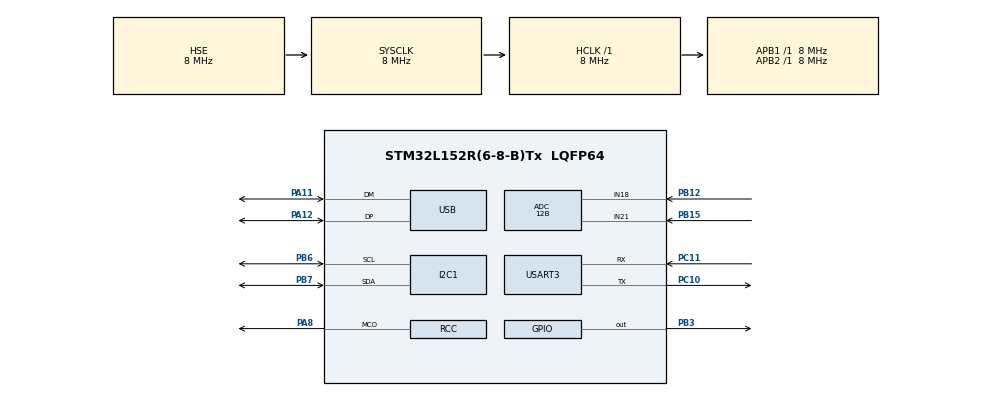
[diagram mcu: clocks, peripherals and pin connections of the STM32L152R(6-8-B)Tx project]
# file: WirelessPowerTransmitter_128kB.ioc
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ADC.Channel-46\#ChannelRegularConversion=ADC_CHANNEL_18
ADC.Channel-48\#ChannelRegularConversion=ADC_CHANNEL_21
ADC.ClockPrescaler=ADC_CLOCK_ASYNC_DIV4
ADC.ContinuousConvMode=ENABLE
ADC.DMAContinuousRequests=ENABLE
ADC.DataAlign=ADC_DATAALIGN_RIGHT
ADC.DiscontinuousConvMode=DISABLE
ADC.EOCSelection=ADC_EOC_SEQ_CONV
ADC.EnableAnalogWatchDog=false
ADC.ExternalTrigConvEdge=ADC_EXTERNALTRIGCONVEDGE_NONE
ADC.InjNumberOfConversion=0
ADC.LowPowerAutoPowerOff=ADC_AUTOPOWEROFF_DISABLE
ADC.LowPowerAutoWait=ADC_AUTOWAIT_DISABLE
ADC.NbrOfConversion=2
ADC.NbrOfConversionFlag=1
ADC.Rank-46\#ChannelRegularConversion=1
ADC.Rank-48\#ChannelRegularConversion=2
ADC.Resolution=ADC_RESOLUTION_12B
ADC.SamplingTime-46\#ChannelRegularConversion=ADC_SAMPLETIME_384CYCLES
ADC.SamplingTime-48\#ChannelRegularConversion=ADC_SAMPLETIME_384CYCLES
ADC.ScanConvMode=ADC_SCAN_ENABLE
Dma.ADC.1.Direction=DMA_PERIPH_TO_MEMORY
Dma.ADC.1.Instance=DMA1_Channel1
Dma.ADC.1.MemDataAlignment=DMA_MDATAALIGN_HALFWORD
Dma.ADC.1.MemInc=DMA_MINC_ENABLE
Dma.ADC.1.Mode=DMA_CIRCULAR
Dma.ADC.1.PeriphDataAlignment=DMA_PDATAALIGN_HALFWORD
Dma.ADC.1.PeriphInc=DMA_PINC_DISABLE
Dma.ADC.1.Priority=DMA_PRIORITY_LOW
Dma.Request0=USART3_TX
Dma.Request1=ADC
Dma.USART3_TX.0.Direction=DMA_MEMORY_TO_PERIPH
Dma.USART3_TX.0.Instance=DMA1_Channel2
Dma.USART3_TX.0.MemDataAlignment=DMA_MDATAALIGN_BYTE
Dma.USART3_TX.0.MemInc=DMA_MINC_ENABLE
Dma.USART3_TX.0.Mode=DMA_NORMAL
Dma.USART3_TX.0.PeriphDataAlignment=DMA_PDATAALIGN_BYTE
Dma.USART3_TX.0.PeriphInc=DMA_PINC_DISABLE
Dma.USART3_TX.0.Priority=DMA_PRIORITY_LOW
Mcu.Family=STM32L1
Mcu.Name=STM32L152R(6-8-B)Tx
Mcu.Package=LQFP64
NVIC.DMA1_Channel1_IRQn=true\:0\:0\:false\:false\:true
NVIC.DMA1_Channel2_IRQn=true\:0\:0\:false\:false\:true
NVIC.PriorityGroup=NVIC_PRIORITYGROUP_4
NVIC.TIM7_IRQn=true\:0\:0\:false\:false\:true
NVIC.USART3_IRQn=true\:0\:0\:false\:false\:true
NVIC.USB_LP_IRQn=true\:0\:0\:false\:false\:true
PA11.Mode=Device
PA11.Signal=USB_DM
PA12.Mode=Device
PA12.Signal=USB_DP
PA8.Mode=Clock-out
PA8.Signal=RCC_MCO
PB12.Mode=IN18
PB12.Signal=ADC_IN18
PB15.Mode=IN21
PB15.Signal=ADC_IN21
PB3.Signal=GPIO_Output
PB6.Mode=I2C
PB6.Signal=I2C1_SCL
PB7.Mode=I2C
PB7.Signal=I2C1_SDA
PC10.Mode=Asynchronous
PC10.Signal=USART3_TX
PC11.Mode=Asynchronous
PC11.Signal=USART3_RX
PH0-OSC_IN.Mode=HSE-External-Oscillator
PH0-OSC_IN.Signal=RCC_OSC_IN
PH1-OSC_OUT.Mode=HSE-External-Oscillator
PH1-OSC_OUT.Signal=RCC_OSC_OUT
ProjectManager.HeapSize=0x200
ProjectManager.StackSize=0x400
ProjectManager.TargetToolchain=TrueSTUDIO
RCC.AHBFreq_Value=8000000
RCC.APB1Freq_Value=8000000
RCC.APB1TimFreq_Value=8000000
RCC.APB2Freq_Value=8000000
RCC.APB2TimFreq_Value=8000000
RCC.HCLKFreq_Value=8000000
RCC.HSE_VALUE=8000000
RCC.HSI_VALUE=16000000
RCC.LSE_VALUE=32768
RCC.MSI_VALUE=2097000
RCC.SYSCLKFreq_VALUE=8000000
RCC.SYSCLKSource=RCC_SYSCLKSOURCE_HSE
RCC.USBOutput=12000000
RCC.VCOOutputFreq_Value=24000000
TIM7.Period=999
TIM7.Prescaler=5999
USB_DEVICE.CLASS_NAME_FS=CDC
USB_DEVICE.USBD_HandleTypeDef=hUsbDeviceFS
USB_DEVICE.VirtualMode=Cdc
USB_DEVICE.VirtualModeFS=Cdc_FS
VP_TIM7_VS_ClockSourceINT.Mode=Enable_Timer
VP_USB_DEVICE_VS_USB_DEVICE_CDC_FS.Mode=CDC_FS
board=WirelessPowerTransmitter_128kB

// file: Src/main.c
/**
  ******************************************************************************
  * File Name          : main.c
  * Description        : Main program body
  ******************************************************************************
  *
  * COPYRIGHT(c) 2017 STMicroelectronics
  *
  * Redistribution and use in source and binary forms, with or without modification,
  * are permitted provided that the following conditions are met:
  *   1. Redistributions of source code must retain the above copyright notice,
  *      this list of conditions and the following disclaimer.
  *   2. Redistributions in binary form must reproduce the above copyright notice,
  *      this list of conditions and the following disclaimer in the documentation
  *      and/or other materials provided with the distribution.
  *   3. Neither the name of STMicroelectronics nor the names of its contributors
  *      may be used to endorse or promote products derived from this software
  *      without specific prior written permission.
  *
  * THIS SOFTWARE IS PROVIDED BY THE COPYRIGHT HOLDERS AND CONTRIBUTORS "AS IS"
  * AND ANY EXPRESS OR IMPLIED WARRANTIES, INCLUDING, BUT NOT LIMITED TO, THE
  * IMPLIED WARRANTIES OF MERCHANTABILITY AND FITNESS FOR A PARTICULAR PURPOSE ARE
  * DISCLAIMED. IN NO EVENT SHALL THE COPYRIGHT HOLDER OR CONTRIBUTORS BE LIABLE
  * FOR ANY DIRECT, INDIRECT, INCIDENTAL, SPECIAL, EXEMPLARY, OR CONSEQUENTIAL
  * DAMAGES (INCLUDING, BUT NOT LIMITED TO, PROCUREMENT OF SUBSTITUTE GOODS OR
  * SERVICES; LOSS OF USE, DATA, OR PROFITS; OR BUSINESS INTERRUPTION) HOWEVER
  * CAUSED AND ON ANY THEORY OF LIABILITY, WHETHER IN CONTRACT, STRICT LIABILITY,
  * OR TORT (INCLUDING NEGLIGENCE OR OTHERWISE) ARISING IN ANY WAY OUT OF THE USE
  * OF THIS SOFTWARE, EVEN IF ADVISED OF THE POSSIBILITY OF SUCH DAMAGE.
  *
  ******************************************************************************
  */
#include "stm32l1xx_hal.h"

/* USER CODE BEGIN Includes */
#include "BQ500511_I2C.h"
#include "BQ500511_Parser.h"
#include "UART_Diagnostics.h"
#include "Tests.h"
#include "JG_BinaryProtocolCommands.h"

/* USER CODE END Includes */

ADC_HandleTypeDef hadc;
DMA_HandleTypeDef hdma_adc;

I2C_HandleTypeDef hi2c1;

TIM_HandleTypeDef htim7;

UART_HandleTypeDef huart3;
DMA_HandleTypeDef hdma_usart3_tx;

/* USER CODE BEGIN PV */
/* Private variables ---------------------------------------------------------*/
volatile uint8_t ReceivedCommandByte;
volatile uint8_t g_RepeatModeTimerTimeout_seconds = 1;
volatile uint8_t g_RepeatModeTimer_seconds = 0;
//State flags
volatile uint8_t g_RepeatModeTimerTimedOutFlag;
volatile uint8_t g_MeasurementsFlag = 0;
volatile uint8_t g_FODThresholdReadModeFlag = 0;
volatile uint8_t g_FODThresholdNewValueReadyFlag = 0;

/* USER CODE END PV */

void SystemClock_Config(void);
void Error_Handler(void);
static void MX_GPIO_Init(void);
static void MX_DMA_Init(void);
static void MX_USART3_UART_Init(void);
static void MX_I2C1_Init(void);
static void MX_TIM7_Init(void);
static void MX_ADC_Init(void);

/* USER CODE BEGIN PFP */
/* Private function prototypes -----------------------------------------------*/
void HAL_UART_RxCpltCallback(UART_HandleTypeDef *UartHandle)
{
	if(g_FODThresholdReadModeFlag == SET)
	{
		//zakoñcz odbiór jeœli delimiter
		if(g_FODThresholdSingleByte == FOD_THRESHOLD_VALUE_DELIMITER)
		{
			g_FODThresholdNewValueReadyFlag = 1;
		}

		else
		{
			g_FODThresholdNewValueBuffer[g_FODThresholdNewValueBuffer_Index] = g_FODThresholdSingleByte;
			++g_FODThresholdNewValueBuffer_Index;

			HAL_UART_Receive_IT(&huart3, (uint8_t*)&g_FODThresholdSingleByte, 1);
		}
	}
	else
	{
		uint8_t tmp_head;
		tmp_head = (command_buffer_head_index_GV+1) & COMMAND_BUFFER_MASK;
		if(tmp_head == command_buffer_tail_index_GV )		// If the circular buffer is full (head caught up to tail),
			g_CommandBufferFullFlag = SET;						// set the flag and stop writing new data to buffer
		else
		{
			command_buffer_head_index_GV = tmp_head;
			command_buffer_GV[command_buffer_head_index_GV] = ReceivedCommandByte;
		}

		g_CommandReceivedCounter = SET;
	}

}

void HAL_TIM_PeriodElapsedCallback(TIM_HandleTypeDef *htim)
{
	 if(htim->Instance == TIM7)
	 {
		 ++g_RepeatModeTimer_seconds;

		 g_MeasurementsFlag = SET;

		 if (g_RepeatModeTimer_seconds == g_RepeatModeTimerTimeout_seconds)
		 {
			 g_RepeatModeTimerTimedOutFlag = SET;
			 g_RepeatModeTimer_seconds = 0;
		 }

	 }

}
/* USER CODE END PFP */

int main(void)
{

  /* MCU Configuration----------------------------------------------------------*/

  /* Reset of all peripherals, Initializes the Flash interface and the Systick. */
  HAL_Init();

  /* Configure the system clock */
  SystemClock_Config();

  /* Initialize all configured peripherals */
  MX_GPIO_Init();
  MX_DMA_Init();
  MX_USART3_UART_Init();
  MX_I2C1_Init();
  MX_TIM7_Init();
  MX_ADC_Init();

  /* USER CODE BEGIN 2 */
  //Wystawienie zegarana na PA8
  HAL_RCC_MCOConfig(RCC_MCO1, RCC_MCOSOURCE_SYSCLK, RCC_MCODIV_16);
  //Inicjalizacja odbierania pojedynczego bajtu po UART
  HAL_UART_Receive_IT(&huart3, (uint8_t*)&ReceivedCommandByte, 1);
  //Inicjalizacja Timera TIM7
  HAL_TIM_Base_Start_IT(&htim7);

  HAL_ADC_Start_DMA(&hadc, (uint32_t*)&g_ADCMeasurements, 2);
  /* USER CODE END 2 */

  /* Infinite loop */
  /* USER CODE BEGIN WHILE */

  uint8_t CurrentCommand = 0;
  HAL_GPIO_WritePin(GPIOB,GPIO_PIN_3,GPIO_PIN_RESET);

  while (1)
  {
  /* USER CODE END WHILE */

  /* USER CODE BEGIN 3 */
  if(g_CommandReceivedCounter == SET)
	{
	  JG_CommandBuffer_GetCommand(&CurrentCommand);
	  g_CommandReceivedCounter = RESET;
	  JG_ProcessCurrentCommand(CurrentCommand);
	}
  if(g_MeasurementsFlag == SET)
  {
	JG_I2C_ReadDeviceId();
	JG_I2C_ReadPLDMonitor();
	JG_I2C_ReadRxStats();
	JG_I2C_ReadTxStats();

	JG_Parse_DeviceBuffer();
	JG_Parse_PLDMonitor();
	JG_Parse_RxStats();
	JG_Parse_TxStats();

	g_MeasurementsFlag = RESET;
  }

  if(g_RepeatModeFlag && g_RepeatModeTimerTimedOutFlag){
	  size_t size = JG_StringParse_MATLABDiagnostics();
	  JG_UART_Transmit_ParsedString(size);
	  g_RepeatModeTimerTimedOutFlag = RESET;
  }
  if(g_FODThresholdNewValueReadyFlag == SET)
  {
	  JG_Parse_FODThresholdNewValueFromString();
	  JG_I2C_WriteNewPLDThresholdValue();
	  HAL_Delay(100);
	  JG_I2C_ReadPLDTreshhold();
	  JG_Parse_PLDThreshold();
	  if(g_PLD_Threshold == g_NewPLDThresholdRawValue)
		  HAL_UART_Transmit(&huart3, (uint8_t*)"Change OK\r\n", sizeof("Change OK\r\n")-1, 1000);
	  else
		  HAL_UART_Transmit(&huart3, (uint8_t*)"Change not successful\r\n", sizeof("Change not successful\r\n")-1, 1000);

	  g_FODThresholdNewValueReadyFlag = RESET;
	  g_FODThresholdReadModeFlag = RESET;
	  HAL_UART_Receive_IT(&huart3, (uint8_t*)&ReceivedCommandByte, 1);
  }

  }
  /* USER CODE END 3 */

}

/** System Clock Configuration
*/
void SystemClock_Config(void)
{

  RCC_OscInitTypeDef RCC_OscInitStruct;
  RCC_ClkInitTypeDef RCC_ClkInitStruct;

  __HAL_RCC_PWR_CLK_ENABLE();

  __HAL_PWR_VOLTAGESCALING_CONFIG(PWR_REGULATOR_VOLTAGE_SCALE1);

  RCC_OscInitStruct.OscillatorType = RCC_OSCILLATORTYPE_HSI|RCC_OSCILLATORTYPE_HSE;
  RCC_OscInitStruct.HSEState = RCC_HSE_ON;
  RCC_OscInitStruct.HSIState = RCC_HSI_ON;
  RCC_OscInitStruct.HSICalibrationValue = 16;
  RCC_OscInitStruct.PLL.PLLState = RCC_PLL_NONE;
  if (HAL_RCC_OscConfig(&RCC_OscInitStruct) != HAL_OK)
  {
    Error_Handler();
  }

  RCC_ClkInitStruct.ClockType = RCC_CLOCKTYPE_HCLK|RCC_CLOCKTYPE_SYSCLK
                              |RCC_CLOCKTYPE_PCLK1|RCC_CLOCKTYPE_PCLK2;
  RCC_ClkInitStruct.SYSCLKSource = RCC_SYSCLKSOURCE_HSE;
  RCC_ClkInitStruct.AHBCLKDivider = RCC_SYSCLK_DIV1;
  RCC_ClkInitStruct.APB1CLKDivider = RCC_HCLK_DIV1;
  RCC_ClkInitStruct.APB2CLKDivider = RCC_HCLK_DIV1;
  if (HAL_RCC_ClockConfig(&RCC_ClkInitStruct, FLASH_LATENCY_0) != HAL_OK)
  {
    Error_Handler();
  }

  HAL_RCC_MCOConfig(RCC_MCO1, RCC_MCO1SOURCE_SYSCLK, RCC_MCODIV_1);

  HAL_SYSTICK_Config(HAL_RCC_GetHCLKFreq()/1000);

  HAL_SYSTICK_CLKSourceConfig(SYSTICK_CLKSOURCE_HCLK);

  /* SysTick_IRQn interrupt configuration */
  HAL_NVIC_SetPriority(SysTick_IRQn, 0, 0);
}

/* ADC init function */
static void MX_ADC_Init(void)
{

  ADC_ChannelConfTypeDef sConfig;

    /**Configure the global features of the ADC (Clock, Resolution, Data Alignment and number of conversion)
    */
  hadc.Instance = ADC1;
  hadc.Init.ClockPrescaler = ADC_CLOCK_ASYNC_DIV4;
  hadc.Init.Resolution = ADC_RESOLUTION_12B;
  hadc.Init.DataAlign = ADC_DATAALIGN_RIGHT;
  hadc.Init.ScanConvMode = ADC_SCAN_ENABLE;
  hadc.Init.EOCSelection = ADC_EOC_SEQ_CONV;
  hadc.Init.LowPowerAutoWait = ADC_AUTOWAIT_DISABLE;
  hadc.Init.LowPowerAutoPowerOff = ADC_AUTOPOWEROFF_DISABLE;
  hadc.Init.ChannelsBank = ADC_CHANNELS_BANK_A;
  hadc.Init.ContinuousConvMode = ENABLE;
  hadc.Init.NbrOfConversion = 2;
  hadc.Init.DiscontinuousConvMode = DISABLE;
  hadc.Init.ExternalTrigConv = ADC_SOFTWARE_START;
  hadc.Init.ExternalTrigConvEdge = ADC_EXTERNALTRIGCONVEDGE_NONE;
  hadc.Init.DMAContinuousRequests = ENABLE;
  if (HAL_ADC_Init(&hadc) != HAL_OK)
  {
    Error_Handler();
  }

    /**Configure for the selected ADC regular channel its corresponding rank in the sequencer and its sample time.
    */
  sConfig.Channel = ADC_CHANNEL_18;
  sConfig.Rank = 1;
  sConfig.SamplingTime = ADC_SAMPLETIME_384CYCLES;
  if (HAL_ADC_ConfigChannel(&hadc, &sConfig) != HAL_OK)
  {
    Error_Handler();
  }

    /**Configure for the selected ADC regular channel its corresponding rank in the sequencer and its sample time.
    */
  sConfig.Channel = ADC_CHANNEL_21;
  sConfig.Rank = 2;
  if (HAL_ADC_ConfigChannel(&hadc, &sConfig) != HAL_OK)
  {
    Error_Handler();
  }

}

/* I2C1 init function */
static void MX_I2C1_Init(void)
{

  hi2c1.Instance = I2C1;
  hi2c1.Init.ClockSpeed = 100000;
  hi2c1.Init.DutyCycle = I2C_DUTYCYCLE_2;
  hi2c1.Init.OwnAddress1 = 0;
  hi2c1.Init.AddressingMode = I2C_ADDRESSINGMODE_7BIT;
  hi2c1.Init.DualAddressMode = I2C_DUALADDRESS_DISABLE;
  hi2c1.Init.OwnAddress2 = 0;
  hi2c1.Init.GeneralCallMode = I2C_GENERALCALL_DISABLE;
  hi2c1.Init.NoStretchMode = I2C_NOSTRETCH_DISABLE;
  if (HAL_I2C_Init(&hi2c1) != HAL_OK)
  {
    Error_Handler();
  }

}

/* TIM7 init function */
static void MX_TIM7_Init(void)
{

  TIM_MasterConfigTypeDef sMasterConfig;

  htim7.Instance = TIM7;
  htim7.Init.Prescaler = 5999;
  htim7.Init.CounterMode = TIM_COUNTERMODE_UP;
  htim7.Init.Period = 999;
  if (HAL_TIM_Base_Init(&htim7) != HAL_OK)
  {
    Error_Handler();
  }

  sMasterConfig.MasterOutputTrigger = TIM_TRGO_RESET;
  sMasterConfig.MasterSlaveMode = TIM_MASTERSLAVEMODE_DISABLE;
  if (HAL_TIMEx_MasterConfigSynchronization(&htim7, &sMasterConfig) != HAL_OK)
  {
    Error_Handler();
  }

}

/* USART3 init function */
static void MX_USART3_UART_Init(void)
{

  huart3.Instance = USART3;
  huart3.Init.BaudRate = 115200;
  huart3.Init.WordLength = UART_WORDLENGTH_8B;
  huart3.Init.StopBits = UART_STOPBITS_1;
  huart3.Init.Parity = UART_PARITY_NONE;
  huart3.Init.Mode = UART_MODE_TX_RX;
  huart3.Init.HwFlowCtl = UART_HWCONTROL_NONE;
  huart3.Init.OverSampling = UART_OVERSAMPLING_16;
  if (HAL_UART_Init(&huart3) != HAL_OK)
  {
    Error_Handler();
  }

}

static void MX_DMA_Init(void)
{
  /* DMA controller clock enable */
  __HAL_RCC_DMA1_CLK_ENABLE();

  /* DMA interrupt init */
  /* DMA1_Channel1_IRQn interrupt configuration */
  HAL_NVIC_SetPriority(DMA1_Channel1_IRQn, 0, 0);
  HAL_NVIC_EnableIRQ(DMA1_Channel1_IRQn);
  /* DMA1_Channel2_IRQn interrupt configuration */
  HAL_NVIC_SetPriority(DMA1_Channel2_IRQn, 0, 0);
  HAL_NVIC_EnableIRQ(DMA1_Channel2_IRQn);

}

/** Configure pins as
        * Analog
        * Input
        * Output
        * EVENT_OUT
        * EXTI
     PA8   ------> RCC_MCO
*/
static void MX_GPIO_Init(void)
{

  GPIO_InitTypeDef GPIO_InitStruct;

  /* GPIO Ports Clock Enable */
  __HAL_RCC_GPIOH_CLK_ENABLE();
  __HAL_RCC_GPIOB_CLK_ENABLE();
  __HAL_RCC_GPIOA_CLK_ENABLE();
  __HAL_RCC_GPIOC_CLK_ENABLE();

  /*Configure GPIO pin : PA8 */
  GPIO_InitStruct.Pin = GPIO_PIN_8;
  GPIO_InitStruct.Mode = GPIO_MODE_AF_PP;
  GPIO_InitStruct.Pull = GPIO_NOPULL;
  GPIO_InitStruct.Speed = GPIO_SPEED_FREQ_LOW;
  GPIO_InitStruct.Alternate = GPIO_AF0_MCO;
  HAL_GPIO_Init(GPIOA, &GPIO_InitStruct);

  /*Configure GPIO pin : PB3 */
  GPIO_InitStruct.Pin = GPIO_PIN_3;
  GPIO_InitStruct.Mode = GPIO_MODE_OUTPUT_PP;
  GPIO_InitStruct.Pull = GPIO_NOPULL;
  GPIO_InitStruct.Speed = GPIO_SPEED_FREQ_LOW;
  HAL_GPIO_Init(GPIOB, &GPIO_InitStruct);

  /*Configure GPIO pin Output Level */
  HAL_GPIO_WritePin(GPIOB, GPIO_PIN_3, GPIO_PIN_RESET);

}

void Error_Handler(void)
{
  while(1)
  {
  }
}

/************************ (C) COPYRIGHT STMicroelectronics *****END OF FILE****/
